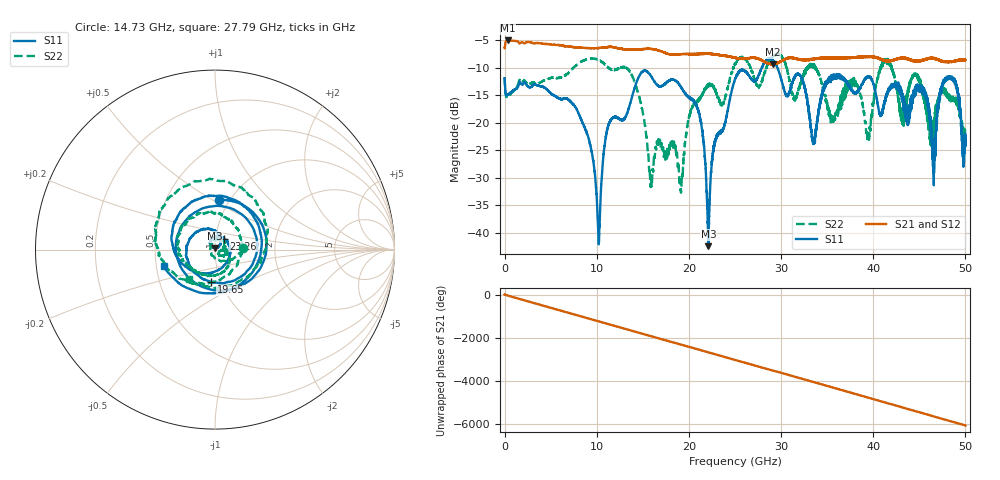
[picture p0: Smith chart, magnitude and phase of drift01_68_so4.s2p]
!Created with skrf (http://scikit-rf.org).
# Hz S RI R 50.0
!freq ReS11 ImS11 ReS21 ImS21 ReS12 ImS12 ReS22 ImS22
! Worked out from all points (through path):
!   10001 points, 300 kHz to 50 GHz, reference 50 ohm
!   highest |S21| = -5.05 dB at 325.3 MHz (marker M1); lowest = -9.4 dB at 29.12 GHz (marker M2)
!   group delay of S21, straight-line fit = 336 ps
!   lowest |S11| = -42.5 dB at 22.11 GHz (marker M3), VSWR 1.02, Z = 49.9 + j0.742 ohm
!   |S11| at or under -10 dB: start of sweep to 27.9 GHz; 29.59 GHz to end of sweep
!   |S22| runs from -32.7 to -7.5 dB; largest |S21 - S12| = 0.013
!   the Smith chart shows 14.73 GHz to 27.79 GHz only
!   S11 on the Smith chart (normalised r, x): 14.73 GHz: 0.90, +0.53; 19.65 GHz: 0.90, -0.34; 23.26 GHz: 1.10, +0.14; 27.79 GHz: 0.55, -0.11
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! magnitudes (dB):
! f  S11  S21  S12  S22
! 300 kHz  -11.9  -6.4  -6.5  -11.7
! 325.3 MHz  -15.0  -5.1  -5.1  -15.3
! 8.335 GHz  -19.5  -6.4  -6.4  -8.9
! 10.21 GHz  -41.8  -6.4  -6.4  -8.6
! 11.24 GHz  -20.6  -6.2  -6.2  -10.0
! 14.73 GHz  -11.2  -6.7  -6.7  -16.2
! 15.88 GHz  -11.6  -6.6  -6.6  -30.5
! 16.67 GHz  -13.3  -6.9  -6.8  -23.2
! 19.65 GHz  -14.8  -7.5  -7.5  -22.8
! 21.23 GHz  -19.4  -7.5  -7.5  -15.5
! 22.11 GHz  -42.5  -7.4  -7.5  -13.2
! 23.26 GHz  -22.0  -7.7  -7.7  -16.0
! 25 GHz  -12.1  -8.2  -8.2  -9.3
! 27.79 GHz  -10.4  -8.6  -8.6  -13.1
! 29.12 GHz  -8.7  -9.4  -9.4  -7.9
! 33.34 GHz  -22.7  -8.5  -8.4  -9.6
! 39.46 GHz  -11.7  -8.0  -8.0  -21.9
! 41.67 GHz  -13.8  -8.8  -8.8  -9.4
! 45.47 GHz  -14.0  -8.5  -8.6  -15.1
! 46.55 GHz  -26.8  -8.3  -8.3  -20.4
! 48.56 GHz  -12.0  -8.9  -8.9  -15.7
! 50 GHz  -23.3  -8.6  -8.6  -23.4
